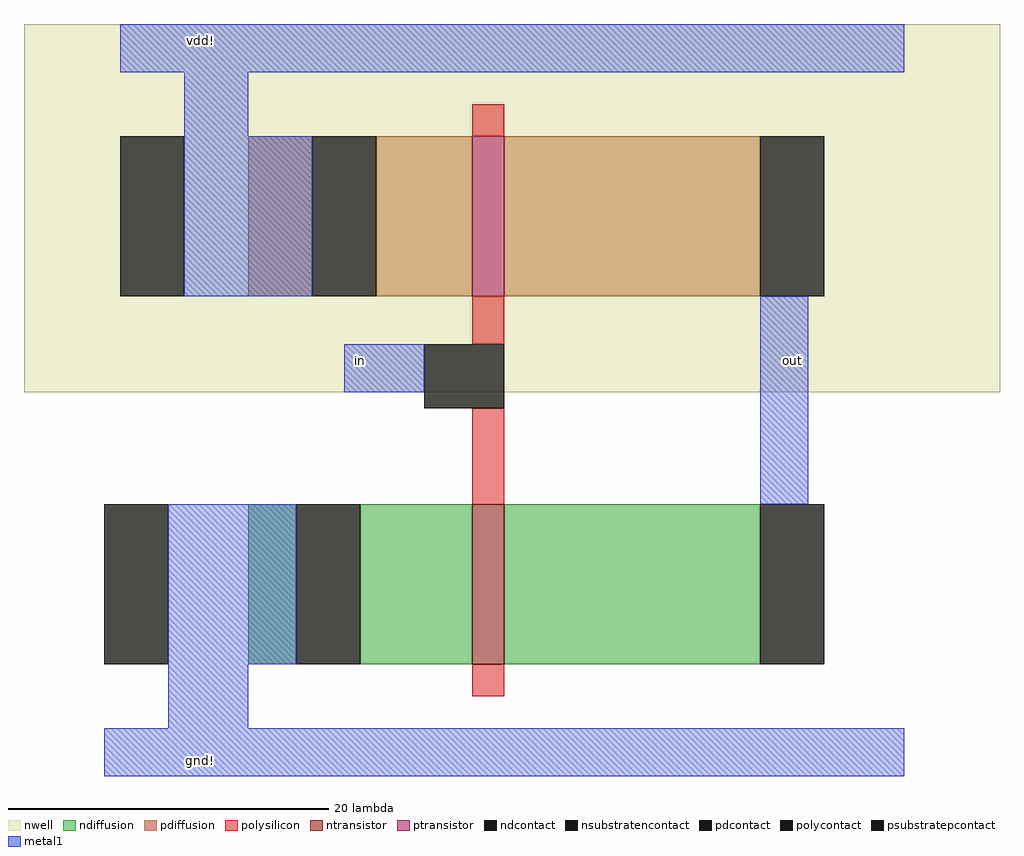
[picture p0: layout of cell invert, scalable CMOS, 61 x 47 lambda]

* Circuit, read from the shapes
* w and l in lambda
.subckt invert gnd! in out vdd!
M1 out in gnd! gnd! nfet w=10 l=2
M2 out in vdd! vdd! pfet w=10 l=2
.ends

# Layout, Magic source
magic
tech scmos
<< nwell >>
rect -28 2 33 25
<< ntransistor >>
rect 0 -15 2 -5
<< ptransistor >>
rect 0 8 2 18
<< ndiffusion >>
rect -14 -15 -11 -5
rect -7 -15 0 -5
rect 2 -15 18 -5
<< pdiffusion >>
rect -14 8 -10 18
rect -6 8 0 18
rect 2 8 18 18
<< ndcontact >>
rect -11 -15 -7 -5
rect 18 -15 22 -5
<< pdcontact >>
rect -10 8 -6 18
rect 18 8 22 18
<< psubstratepcontact >>
rect -23 -15 -19 -5
<< nsubstratencontact >>
rect -22 8 -18 18
<< polysilicon >>
rect 0 18 2 20
rect 0 5 2 8
rect 0 -5 2 1
rect 0 -17 2 -15
<< polycontact >>
rect -3 1 2 5
<< metal1 >>
rect -22 22 27 25
rect -18 18 -14 22
rect -18 8 -10 18
rect -8 2 -3 5
rect 18 -5 21 8
rect -19 -15 -11 -5
rect -19 -19 -14 -15
rect -23 -22 27 -19
<< labels >>
rlabel metal1 -17 24 -17 24 5 vdd!
rlabel metal1 -17 -21 -17 -21 1 gnd!
rlabel metal1 -7 4 -7 4 1 in
rlabel metal1 20 4 20 4 1 out
<< end >>
